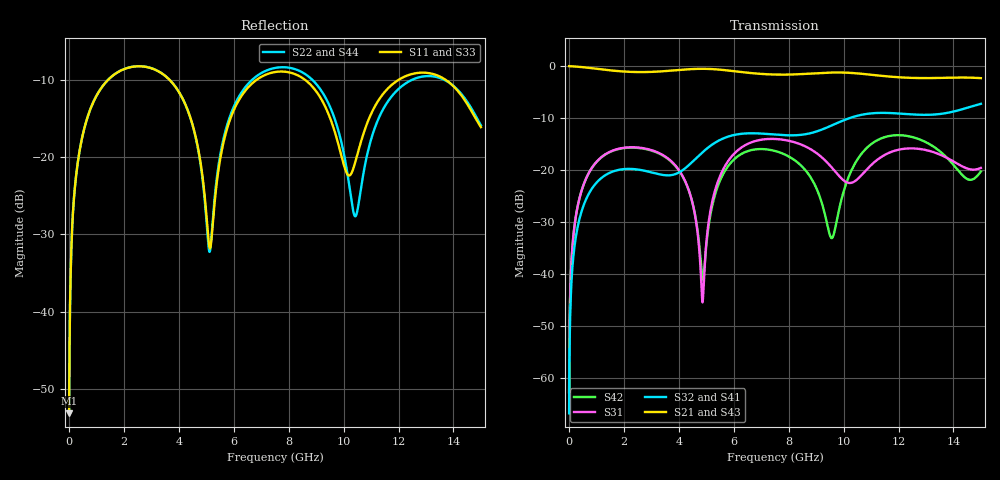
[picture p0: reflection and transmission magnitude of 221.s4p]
! Created with skrf 1.8.0 (http://scikit-rf.org).
# GHz S RI R 50.0
!freq ReS11 ImS11 ReS12 ImS12 ReS13 ImS13
! ReS14 ImS14
! ReS21 ImS21 ReS22 ImS22 ReS23 ImS23
! ReS24 ImS24
! ReS31 ImS31 ReS32 ImS32 ReS33 ImS33
! ReS34 ImS34
! ReS41 ImS41 ReS42 ImS42 ReS43 ImS43
! ReS44 ImS44
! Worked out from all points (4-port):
!   2499 points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, 5 MHz to 15 GHz, reference 50 ohm
!   strongest paths, dB at 5 MHz, 3.476 GHz, 7.19 GHz, 11.1 GHz, 15 GHz:
!     S21: 0.0, -1.0, -1.6, -1.7, -2.3
!     S43: 0.0, -1.0, -1.6, -1.7, -2.3
!     S32: -66.8, -21.0, -13.1, -9.1, -7.3
!     S41: -66.8, -21.0, -13.1, -9.1, -7.3
!     S31: -62.8, -17.3, -14.1, -18.6, -19.6
!     S42: -62.8, -17.4, -16.0, -14.7, -20.3
!   lowest |S11| = -53.2 dB at 5 MHz (marker M1), VSWR 1.00, Z = 50.2 + j0.133 ohm
!   |S11| at or under -10 dB: start of sweep to 1.411 GHz; 3.676 GHz to 6.812 GHz (3.136 GHz wide, 59.8 % of centre); 8.617 GHz to 11.98 GHz (3.363 GHz wide, 32.7 % of centre) (the widest 3 of 4)
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0.005  0.00175 0.00132  0.9982 -0.0034  8.9e-05 0.000719  -8.63e-05 -0.000447
       0.9982 -0.0034  0.00175 0.00132  -8.63e-05 -0.000447  8.9e-05 0.000719
       8.9e-05 0.000719  -8.63e-05 -0.000447  0.00175 0.00132  0.9982 -0.0034
       -8.63e-05 -0.000447  8.9e-05 0.000719  0.9982 -0.0034  0.00175 0.00132
0.3126303  0.0268 0.0865  0.9633 -0.2109  0.0129 0.0424  -0.0106 -0.0259
           0.9633 -0.2109  0.0268 0.0865  -0.0106 -0.0259  0.0127 0.0424
           0.0129 0.0424  -0.0106 -0.0259  0.0268 0.0865  0.9633 -0.2109
           -0.0106 -0.0259  0.0127 0.0424  0.9633 -0.2109  0.0268 0.0865
1.519383  0.2818 0.1716  0.5205 -0.7449  0.1391 0.0588  -0.0948 -0.00104
          0.5205 -0.7449  0.2827 0.1708  -0.0949 -0.000951  0.1367 0.0621
          0.1391 0.0588  -0.0949 -0.000951  0.2817 0.1716  0.5205 -0.7449
          -0.0948 -0.00104  0.1367 0.0621  0.5205 -0.7449  0.2827 0.1707
4.858274  0.0365 -0.0667  -0.9119 -0.2348  0.00523 -0.00115  -0.0328 0.144
          -0.9119 -0.2348  0.0343 -0.0652  -0.0314 0.1443  -0.00867 -0.00278
          0.00523 -0.00115  -0.0314 0.1443  0.0369 -0.0649  -0.9121 -0.2343
          -0.0328 0.144  -0.00867 -0.00278  -0.9121 -0.2343  0.0331 -0.0638
7.884535  0.3587 -0.00809  -0.0358 0.8272  0.1418 -0.1321  0.2089 -0.052
          -0.0358 0.8272  0.3822 -0.0321  0.209 -0.055  0.1354 -0.0354
          0.1418 -0.1321  0.209 -0.055  0.3614 -0.00825  -0.0364 0.826
          0.2089 -0.052  0.1354 -0.0354  -0.0364 0.826  0.3858 -0.0307
10.66694  0.1024 0.0836  0.8406 -0.0621  -0.00761 0.0898  -0.0379 -0.3378
          0.8406 -0.0621  0.0532 0.0434  -0.044 -0.3374  0.1012 0.1036
          -0.00761 0.0898  -0.044 -0.3374  0.1018 0.0797  0.8411 -0.0591
          -0.0379 -0.3378  0.1012 0.1036  0.8411 -0.0591  0.054 0.0408
15  0.146 -0.058  -0.6604 -0.387  -0.0966 0.0408  -0.2303 0.3676
    -0.6604 -0.387  0.1449 -0.071  -0.2202 0.3732  -0.0772 0.0583
    -0.0966 0.0408  -0.2202 0.3732  0.1512 -0.0613  -0.6568 -0.3922
    -0.2303 0.3676  -0.0772 0.0583  -0.6568 -0.3922  0.1458 -0.0737
